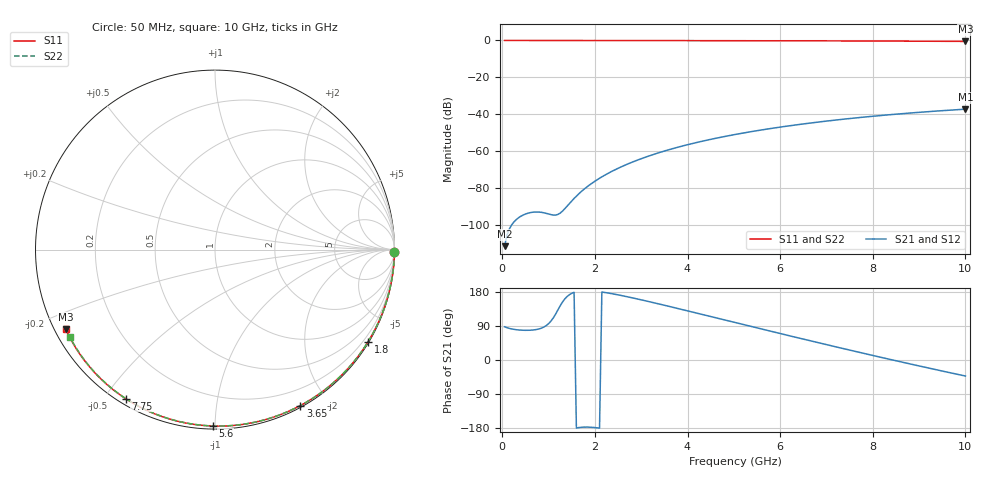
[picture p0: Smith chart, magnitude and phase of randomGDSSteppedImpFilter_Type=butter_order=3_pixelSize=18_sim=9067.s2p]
! freq	dB(S11)	phase(S11)	dB(S12)	phase(S12)
!  dB(S21)	phase(S21)	dB(S22)	phase(S22)
!S-par simulation data
#  GHz  S  DB  R 50
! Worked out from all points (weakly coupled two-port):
!   200 points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, 50 MHz to 10 GHz, reference 50 ohm
!   highest |S21| = -37.23 dB at 10 GHz (marker M1); lowest = -111.5 dB at 50 MHz (marker M2)
!   lowest |S11| = -0.5 dB at 10 GHz (marker M3), VSWR 33.91, Z = 1.57 - j12.5 ohm
!   |S11| at or under -10 dB: nowhere
!   |S22| runs from -0.5 to 0.0 dB; largest |S21 - S12| = 0
!   S11 on the Smith chart (normalised r, x): 50 MHz: open; 1.8 GHz: 0.03, -3.60; 3.65 GHz: 0.02, -1.69; 5.6 GHz: 0.02, -0.99; 7.75 GHz: 0.02, -0.57; 10 GHz: 0.03, -0.25
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0.05  -0.00 -0.9  -111.47 87.6  -111.47 87.6  -0.00 -0.9
0.45  -0.01 -7.9  -94.60 78.5  -94.60 78.5  -0.01 -7.8
0.9  -0.02 -15.7  -93.39 87.1  -93.39 87.1  -0.02 -15.5
1.3  -0.03 -22.5  -92.46 153.0  -92.46 153.0  -0.03 -22.2
1.75  -0.04 -30.2  -80.93 -177.2  -80.93 -177.2  -0.04 -29.8
1.8  -0.04 -31.0  -79.90 -177.0  -79.90 -177.0  -0.04 -30.6
1.95  -0.04 -33.6  -77.11 -177.8  -77.11 -177.8  -0.04 -33.1
2.1  -0.05 -36.1  -74.66 -179.7  -74.66 -179.7  -0.05 -35.6
2.3  -0.05 -39.4  -71.79 176.5  -71.79 176.5  -0.05 -38.9
2.5  -0.05 -42.7  -69.27 171.9  -69.27 171.9  -0.05 -42.1
2.9  -0.06 -49.3  -65.01 161.6  -65.01 161.6  -0.06 -48.6
3.4  -0.08 -57.3  -60.68 147.4  -60.68 147.4  -0.08 -56.5
3.65  -0.08 -61.3  -58.83 140.1  -58.83 140.1  -0.08 -60.5
4.3  -0.10 -71.4  -54.69 120.7  -54.69 120.7  -0.10 -70.4
5.05  -0.13 -82.7  -50.84 98.2  -50.84 98.2  -0.13 -81.6
5.6  -0.15 -90.8  -48.48 81.7  -48.48 81.7  -0.15 -89.6
6.15  -0.17 -98.7  -46.41 65.4  -46.41 65.4  -0.17 -97.4
6.7  -0.21 -106.5  -44.59 49.3  -44.59 49.3  -0.21 -105.0
7.75  -0.28 -121.0  -41.67 19.0  -41.67 19.0  -0.28 -119.2
8.35  -0.33 -129.2  -40.27 2.2  -40.27 2.2  -0.33 -127.2
9.2  -0.42 -140.8  -38.57 -21.1  -38.57 -21.1  -0.41 -138.4
10  -0.51 -151.9  -37.23 -42.3  -37.23 -42.3  -0.50 -149.0
